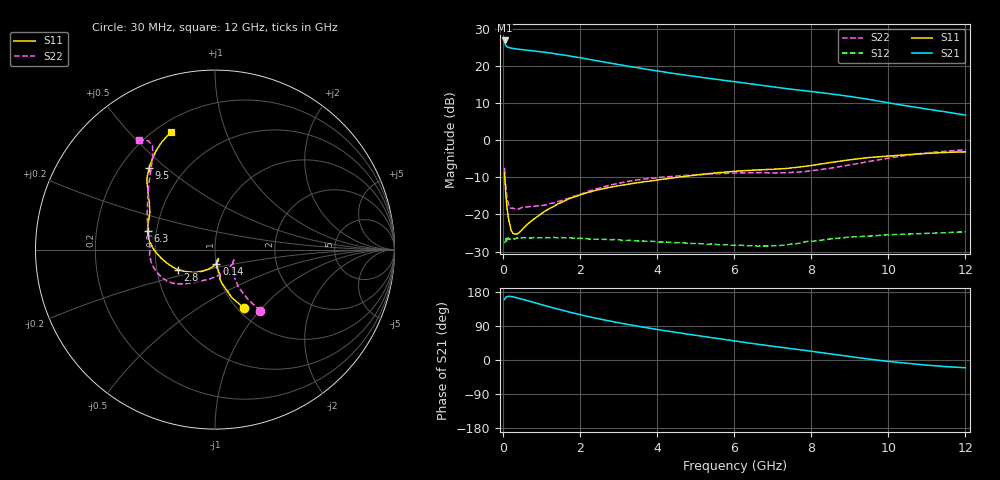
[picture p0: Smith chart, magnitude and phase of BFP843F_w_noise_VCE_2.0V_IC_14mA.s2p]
! Infineon Technologies  Discrete & RF Semiconductors
! BFP843F
! VCE =  2.0 V,  IC =  14 mA
! Common Emitter S-Parameters:  Aug 2013
# GHz  S  MA  R  50
!  f  S11  S21  S12  S22
! GHz  MAG  ANG  MAG  ANG  MAG  ANG  MAG  ANG
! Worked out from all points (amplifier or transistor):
!   103 points, 30 MHz to 12 GHz, reference 50 ohm
!   highest |S21| = 26.9 dB at 30 MHz (marker M1)
!   |S21| within 3 dB of that: start of sweep to 929.4 MHz
!   unconditionally stable (mu >= 1): 148.3 MHz to end of sweep
!   at 400 MHz: K = 1.02, MAG = 24.7 dB, |S12| = -26.5 dB
!   at 3.7 GHz: K = 1.19, MAG = 20.6 dB, |S12| = -27.2 dB
!   at 12 GHz: K = 1.25, MAG = 12.7 dB, |S12| = -24.7 dB
!   lowest NFmin = 0.84 dB at 450 MHz
!   S11 on the Smith chart (normalised r, x): 30 MHz: 1.07, -0.80; 140 MHz: 1.00, -0.16; 2.8 GHz: 0.64, -0.15; 6.3 GHz: 0.45, +0.11; 9.5 GHz: 0.32, +0.44; 12 GHz: 0.26, +0.66
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0.03  0.3618 -63.8  22.05 159.7  0.0409 29.6  0.4245 -53.4
0.04  0.2813 -70.9  20.45 161.2  0.0426 22.6  0.3334 -56.5
0.05  0.2369 -73.7  19.43 164.3  0.0438 14.2  0.2802 -57.4
0.07  0.164 -80.9  18.57 166.3  0.0486 13.6  0.2105 -55.8
0.1  0.1143 -81.0  18.01 167.6  0.0459 12.5  0.1563 -50.6
0.14  0.081 -84.6  17.71 168.1  0.0465 4.8  0.1346 -41.6
0.3  0.0548 -68.6  17.07 165.4  0.0467 3.0  0.1187 -30.0
0.8  0.0875 -92.3  15.91 151.6  0.0488 0.6  0.1289 -51.8
1.2  0.1207 -111.6  15 140.2  0.0486 -0.6  0.1395 -76.0
1.6  0.1533 -126.2  13.96 129.4  0.0483 -1.4  0.1604 -96.3
2.1  0.1908 -139.4  12.62 117.0  0.0479 -2.2  0.1954 -115.4
2.5  0.2172 -147.0  11.57 108.1  0.0462 -3.4  0.2271 -125.5
2.8  0.2339 -151.6  10.86 102.2  0.0457 -3.8  0.2503 -130.3
3.4  0.2631 -160.2  9.601 90.8  0.0444 -4.1  0.2888 -138.7
4.1  0.2964 -169.1  8.406 79.0  0.0426 -2.4  0.3166 -146.1
5  0.3393 -179.7  7.196 65.1  0.0406 -0.6  0.3411 -155.7
6.1  0.3845 167.2  6.047 48.9  0.0385 3.7  0.3625 -168.8
6.3  0.3898 164.5  5.856 46.0  0.0378 5.3  0.3629 -171.5
8.5  0.5005 138.4  4.211 16.1  0.0468 19.6  0.4197 154.1
9.5  0.5851 129.0  3.543 2.4  0.0511 19.1  0.5177 135.4
10.5  0.6382 121.2  2.887 -8.8  0.0545 18.2  0.6286 123.4
12  0.6975 110.6  2.182 -20.5  0.0585 20.1  0.7437 124.8
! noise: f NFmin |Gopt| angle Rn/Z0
0.45  0.84  0.01  87  0.03
0.9  0.84  0.02  98  0.04
1.5  0.87  0.03  107  0.05
1.9  0.92  0.04  119  0.05
2.4  0.96  0.05  136  0.07
3.5  1.01  0.08  154  0.12
5.5  1.11  0.17  -161  0.2
10  1.66  0.36  -110  0.3
